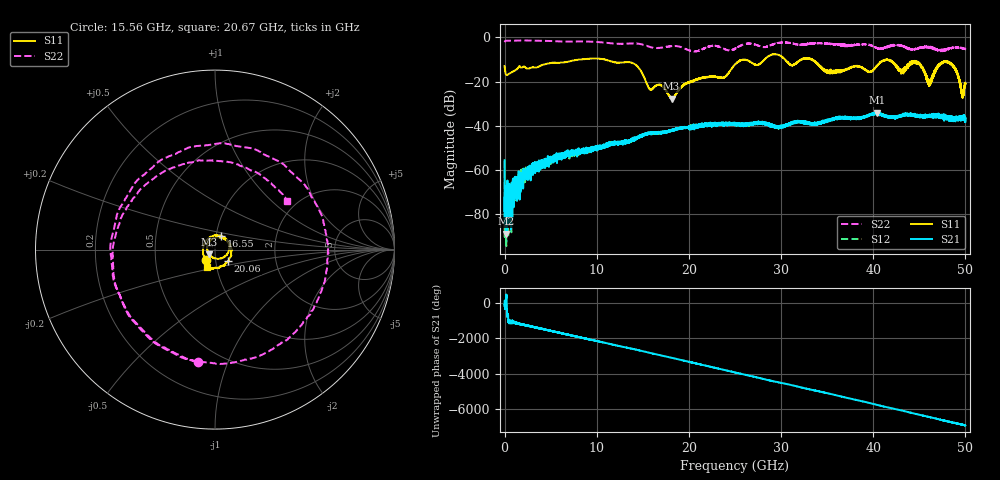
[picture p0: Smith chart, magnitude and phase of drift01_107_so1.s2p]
!Created with skrf (http://scikit-rf.org).
# Hz S RI R 50.0
!freq ReS11 ImS11 ReS21 ImS21 ReS12 ImS12 ReS22 ImS22
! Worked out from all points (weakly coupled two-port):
!   10001 points, 300 kHz to 50 GHz, reference 50 ohm
!   highest |S21| = -34.02 dB at 40.39 GHz (marker M1); lowest = -88.8 dB at 195.3 MHz (marker M2)
!   lowest |S11| = -27.7 dB at 18.12 GHz (marker M3), VSWR 1.09, Z = 46.8 - j2.37 ohm
!   |S11| at or under -10 dB: start of sweep to 8.085 GHz; 10.91 GHz to 26.01 GHz (15.1 GHz wide, 81.8 % of centre); 41.42 GHz to end of sweep (the widest 3 of 14)
!   |S22| runs from -6.4 to -1.4 dB; largest |S21 - S12| = 0.0048
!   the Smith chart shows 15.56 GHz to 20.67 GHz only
!   S11 on the Smith chart (normalised r, x): 15.56 GHz: 0.90, -0.11; 16.55 GHz: 1.06, +0.16; 20.06 GHz: 1.15, -0.15; 20.67 GHz: 0.89, -0.18
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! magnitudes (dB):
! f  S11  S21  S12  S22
! 300 kHz  -13.0  -55.5  -55.8  -2.1
! 195.3 MHz  -16.9  -88.8  -85.3  -1.4
! 3.05 GHz  -13.4  -61.0  -58.7  -1.4
! 8.335 GHz  -9.9  -51.8  -51.9  -1.8
! 13.88 GHz  -11.5  -46.6  -46.3  -2.7
! 15.56 GHz  -22.1  -43.7  -43.4  -4.0
! 16.55 GHz  -21.5  -42.8  -43.2  -4.7
! 16.67 GHz  -21.3  -43.1  -43.3  -4.8
! 18.12 GHz  -27.7  -42.1  -42.1  -3.9
! 20.06 GHz  -20.2  -40.4  -40.6  -5.9
! 20.67 GHz  -19.2  -39.6  -40.6  -6.3
! 25 GHz  -12.2  -39.2  -39.0  -5.1
! 33.34 GHz  -10.1  -38.7  -38.9  -2.7
! 35.12 GHz  -15.7  -37.4  -37.8  -2.8
! 40.39 GHz  -12.9  -34.0  -34.5  -4.8
! 41.67 GHz  -10.2  -35.4  -35.9  -4.1
! 43.07 GHz  -15.3  -35.2  -34.9  -3.7
! 44.82 GHz  -11.5  -35.3  -35.2  -5.0
! 46.1 GHz  -21.8  -35.5  -35.4  -4.4
! 48.07 GHz  -11.0  -36.3  -35.9  -4.9
! 49.63 GHz  -26.9  -36.2  -37.3  -4.7
! 50 GHz  -20.8  -38.0  -36.6  -5.3
